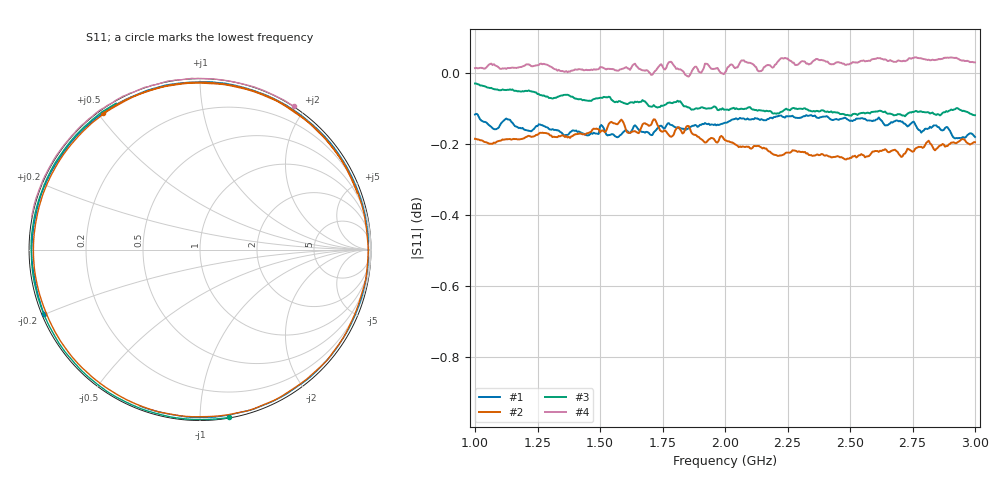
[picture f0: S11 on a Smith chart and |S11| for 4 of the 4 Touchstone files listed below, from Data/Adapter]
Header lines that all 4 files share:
! Ref Plane: 0.000 mm
# MHZ S MA R  50
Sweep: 1 GHz to 3 GHz
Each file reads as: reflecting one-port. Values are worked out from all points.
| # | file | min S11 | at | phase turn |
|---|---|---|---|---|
| 1 | 2adapter_phase_fixed.s1p | -0.2 dB | 2.92 GHz | -314 deg |
| 2 | 3adapter_phase_fixed.s1p | -0.2 dB | 2.485 GHz | -466 deg |
| 3 | adapter_phase_fixed.s1p | -0.1 dB | 2.72 GHz | -160 deg |
| 4 | ref_cable_only_phase.s1p | 0.0 dB | 1.855 GHz | +112 deg |
